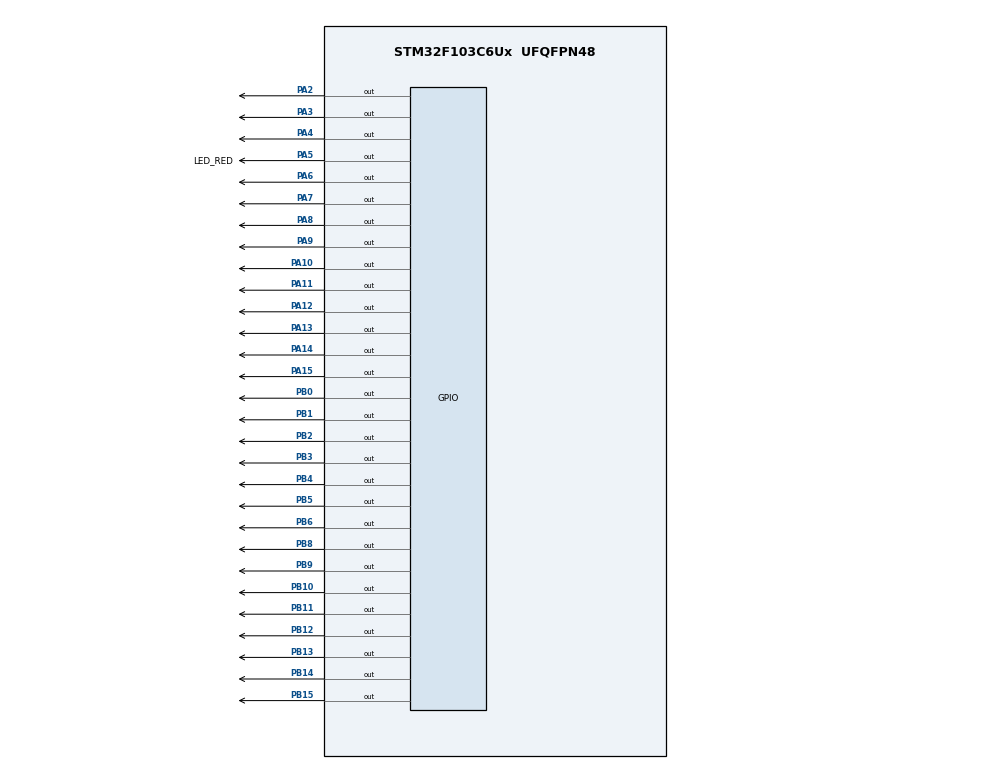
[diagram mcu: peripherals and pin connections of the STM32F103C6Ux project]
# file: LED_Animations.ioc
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Mcu.Family=STM32F1
Mcu.Name=STM32F103C6Ux
Mcu.Package=UFQFPN48
NVIC.PriorityGroup=NVIC_PRIORITYGROUP_4
NVIC.TIM2_IRQn=true\:0\:0\:false\:false\:true\:true\:true
PA10.Signal=GPIO_Output
PA11.Signal=GPIO_Output
PA12.Signal=GPIO_Output
PA13.Signal=GPIO_Output
PA14.Signal=GPIO_Output
PA15.Signal=GPIO_Output
PA2.Signal=GPIO_Output
PA3.Signal=GPIO_Output
PA4.Signal=GPIO_Output
PA5.GPIO_Label=LED_RED
PA5.Signal=GPIO_Output
PA6.Signal=GPIO_Output
PA7.Signal=GPIO_Output
PA8.Signal=GPIO_Output
PA9.Signal=GPIO_Output
PB0.Signal=GPIO_Output
PB1.Signal=GPIO_Output
PB10.Signal=GPIO_Output
PB11.Signal=GPIO_Output
PB12.Signal=GPIO_Output
PB13.Signal=GPIO_Output
PB14.Signal=GPIO_Output
PB15.Signal=GPIO_Output
PB2.Signal=GPIO_Output
PB3.Signal=GPIO_Output
PB4.Signal=GPIO_Output
PB5.Signal=GPIO_Output
PB6.Signal=GPIO_Output
PB8.Signal=GPIO_Output
PB9.Signal=GPIO_Output
ProjectManager.HeapSize=0x200
ProjectManager.StackSize=0x400
ProjectManager.TargetToolchain=STM32CubeIDE
RCC.APB1Freq_Value=8000000
RCC.APB2Freq_Value=8000000
TIM2.Period=9
TIM2.Prescaler=7999
VP_SYS_VS_ND.Mode=No_Debug
VP_TIM2_VS_ClockSourceINT.Mode=Internal
board=custom

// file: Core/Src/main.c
/* USER CODE BEGIN Header */
/**
  ******************************************************************************
  * @file           : main.c
  * @brief          : Main program body
  ******************************************************************************
  * @attention
  *
  * <h2><center>&copy; Copyright (c) 2026 STMicroelectronics.
  * All rights reserved.</center></h2>
  *
  * This software component is licensed by ST under BSD 3-Clause license,
  * the "License"; You may not use this file except in compliance with the
  * License. You may obtain a copy of the License at:
  *                        opensource.org/licenses/BSD-3-Clause
  *
  ******************************************************************************
  */
/* USER CODE END Header */
#include "main.h"

TIM_HandleTypeDef htim2;

/* USER CODE BEGIN PV */
int hour = 15;
int minute = 8;
int second = 50;
int second_counter = 0;
/* USER CODE END PV */

void SystemClock_Config(void);
static void MX_GPIO_Init(void);
static void MX_TIM2_Init(void);

/* USER CODE BEGIN 0 */
const uint8_t segment_code[10] = {
    0x40, // 0: a,b,c,d,e,f on (g off)
    0x79, // 1: b,c on
    0x24, // 2: a,b,d,e,g on
    0x30, // 3: a,b,c,d,g on
    0x19, // 4: b,c,f,g on
    0x12, // 5: a,c,d,f,g on
    0x02, // 6: a,c,d,e,f,g on
    0x78, // 7: a,b,c on
    0x00, // 8: a,b,c,d,e,f,g on
    0x10  // 9: a,b,c,d,f,g on
};

void display7SEG(int num) {
    if (num < 0 || num > 9) return;

    uint8_t code = segment_code[num];

    HAL_GPIO_WritePin(GPIOB, GPIO_PIN_0, (code & (1 << 0)) ? GPIO_PIN_SET : GPIO_PIN_RESET);
    HAL_GPIO_WritePin(GPIOB, GPIO_PIN_1, (code & (1 << 1)) ? GPIO_PIN_SET : GPIO_PIN_RESET);
    HAL_GPIO_WritePin(GPIOB, GPIO_PIN_2, (code & (1 << 2)) ? GPIO_PIN_SET : GPIO_PIN_RESET);
    HAL_GPIO_WritePin(GPIOB, GPIO_PIN_3, (code & (1 << 3)) ? GPIO_PIN_SET : GPIO_PIN_RESET);
    HAL_GPIO_WritePin(GPIOB, GPIO_PIN_4, (code & (1 << 4)) ? GPIO_PIN_SET : GPIO_PIN_RESET);
    HAL_GPIO_WritePin(GPIOB, GPIO_PIN_5, (code & (1 << 5)) ? GPIO_PIN_SET : GPIO_PIN_RESET);
    HAL_GPIO_WritePin(GPIOB, GPIO_PIN_6, (code & (1 << 6)) ? GPIO_PIN_SET : GPIO_PIN_RESET);
}

const int MAX_LED = 4;
int index_led = 0;
int led_buffer[4] = {1, 2, 3, 4};
void update7SEG(int index){
	switch (index){
		case 0:
			//Display the first 7SEG with led_buffer[0]
			display7SEG(led_buffer[0]);
			HAL_GPIO_WritePin(GPIOA,GPIO_PIN_6,GPIO_PIN_RESET);
			index_led = 1;
			break;
		case 1:
			//Display the second 7SEG with led_buffer[1]
			display7SEG(led_buffer[1]);
			HAL_GPIO_WritePin(GPIOA,GPIO_PIN_7,GPIO_PIN_RESET);
			index_led = 2;
			break;
		case 2:
			//Display the third 7SEG with led_buffer[2]
			display7SEG(led_buffer[2]);
			HAL_GPIO_WritePin(GPIOA,GPIO_PIN_8,GPIO_PIN_RESET);
			index_led = 3;
			break;
		case 3:
			//Display the forth 7SEG with led_buffer[3]
			display7SEG(led_buffer[3]);
			HAL_GPIO_WritePin(GPIOA,GPIO_PIN_9,GPIO_PIN_RESET);
			index_led = 0;
			break;
		default:

			break;

	}
}
void updateClockBuffer() {
    led_buffer[0] = hour / 10;
    led_buffer[1] = hour % 10;
    led_buffer[2] = minute / 10;
    led_buffer[3] = minute % 10;
}

const int MAX_LED_MATRIX = 8;
int index_led_matrix = 0;
uint8_t matrix_buffer[8] = {0x00, 0xFC, 0x12, 0x11, 0x11, 0x12, 0xFC, 0x00};

int timer_counter[5] = {0, 0, 0, 0, 0};
int timer_flag[5] = {0, 0, 0, 0, 0};
int TIMER_CYCLE = 10;
void setTimer(int index, int duration){
    timer_counter[index] = duration / TIMER_CYCLE;
    timer_flag[index] = 0;
}
void timer_run(){
    for(int i = 0; i < 5; i++){
        if(timer_counter[i] > 0){
            timer_counter[i]--;
            if(timer_counter[i] == 0) timer_flag[i] = 1;
        }
    }
}

void updateLEDMatrix(int index){

    HAL_GPIO_WritePin(GPIOA, GPIO_PIN_2|GPIO_PIN_3|GPIO_PIN_10|GPIO_PIN_11|
                             GPIO_PIN_12|GPIO_PIN_13|GPIO_PIN_14|GPIO_PIN_15, GPIO_PIN_RESET);

    uint8_t data = matrix_buffer[index];
    HAL_GPIO_WritePin(GPIOB, GPIO_PIN_8, (data >> 0) & 0x01);
    HAL_GPIO_WritePin(GPIOB, GPIO_PIN_9, (data >> 1) & 0x01);
    HAL_GPIO_WritePin(GPIOB, GPIO_PIN_10, (data >> 2) & 0x01);
    HAL_GPIO_WritePin(GPIOB, GPIO_PIN_11, (data >> 3) & 0x01);
    HAL_GPIO_WritePin(GPIOB, GPIO_PIN_12, (data >> 4) & 0x01);
    HAL_GPIO_WritePin(GPIOB, GPIO_PIN_13, (data >> 5) & 0x01);
    HAL_GPIO_WritePin(GPIOB, GPIO_PIN_14, (data >> 6) & 0x01);
    HAL_GPIO_WritePin(GPIOB, GPIO_PIN_15, (data >> 7) & 0x01);

    switch (index){
        case 0: HAL_GPIO_WritePin(GPIOA, GPIO_PIN_2, GPIO_PIN_SET); break;
        case 1: HAL_GPIO_WritePin(GPIOA, GPIO_PIN_3, GPIO_PIN_SET); break;
        case 2: HAL_GPIO_WritePin(GPIOA, GPIO_PIN_10, GPIO_PIN_SET); break;
        case 3: HAL_GPIO_WritePin(GPIOA, GPIO_PIN_11, GPIO_PIN_SET); break;
        case 4: HAL_GPIO_WritePin(GPIOA, GPIO_PIN_12, GPIO_PIN_SET); break;
        case 5: HAL_GPIO_WritePin(GPIOA, GPIO_PIN_13, GPIO_PIN_SET); break;
        case 6: HAL_GPIO_WritePin(GPIOA, GPIO_PIN_14, GPIO_PIN_SET); break;
        case 7: HAL_GPIO_WritePin(GPIOA, GPIO_PIN_15, GPIO_PIN_SET); break;
        default: break;
    }
}
/* USER CODE END 0 */

int main(void)
{

  /* MCU Configuration--------------------------------------------------------*/

  /* Reset of all peripherals, Initializes the Flash interface and the Systick. */
  HAL_Init();

  /* Configure the system clock */
  SystemClock_Config();

  /* Initialize all configured peripherals */
  MX_GPIO_Init();
  MX_TIM2_Init();
  /* USER CODE BEGIN 2 */

  /* USER CODE BEGIN 2 */
    updateClockBuffer();
    setTimer(0, 250);  //  LED (250ms)
    setTimer(1, 500);  // DOT (500ms)
    setTimer(2, 1000); //  Clock & LED_RED (1000ms)
    setTimer(3, 20);
    setTimer(4, 250);
    HAL_TIM_Base_Start_IT(&htim2);
  /* USER CODE END 2 */

  /* Infinite loop */
    while (1)
    {

    /* USER CODE BEGIN 3 */

        if(timer_flag[0] == 1){
            HAL_GPIO_WritePin(GPIOA,GPIO_PIN_6|GPIO_PIN_7|GPIO_PIN_8|GPIO_PIN_9, GPIO_PIN_SET);
            update7SEG(index_led);
            setTimer(0, 250);
        }
        if(timer_flag[1] == 1){
            HAL_GPIO_TogglePin(GPIOA, GPIO_PIN_4);
            setTimer(1, 500);
        }
        if(timer_flag[2] == 1){
            HAL_GPIO_TogglePin(GPIOA, GPIO_PIN_5);

            second++;
            if(second >= 60) {
                second = 0;
                minute++;
            }
            if(minute >= 60) {
                minute = 0;
                hour++;
            }
            if(hour >= 24) {
                hour = 0;
            }
            updateClockBuffer();
            setTimer(2, 1000);
        }
        if(timer_flag[3] == 1){
        	updateLEDMatrix(index_led_matrix);
        	index_led_matrix++;
        	if(index_led_matrix >= MAX_LED_MATRIX){
        		index_led_matrix = 0;
        	}
        	setTimer(3, 10);
        }
        if(timer_flag[4] == 1){
            uint8_t temp = matrix_buffer[0];
            for(int i = 0; i < 7; i++){
            matrix_buffer[i] = matrix_buffer[i+1];
           }
            matrix_buffer[7] = temp;
            setTimer(4, 250);
          }
    }
  /* USER CODE END 3 */
}

void SystemClock_Config(void)
{
  RCC_OscInitTypeDef RCC_OscInitStruct = {0};
  RCC_ClkInitTypeDef RCC_ClkInitStruct = {0};

  /** Initializes the RCC Oscillators according to the specified parameters
  * in the RCC_OscInitTypeDef structure.
  */
  RCC_OscInitStruct.OscillatorType = RCC_OSCILLATORTYPE_HSI;
  RCC_OscInitStruct.HSIState = RCC_HSI_ON;
  RCC_OscInitStruct.HSICalibrationValue = RCC_HSICALIBRATION_DEFAULT;
  RCC_OscInitStruct.PLL.PLLState = RCC_PLL_NONE;
  if (HAL_RCC_OscConfig(&RCC_OscInitStruct) != HAL_OK)
  {
    Error_Handler();
  }
  /** Initializes the CPU, AHB and APB buses clocks
  */
  RCC_ClkInitStruct.ClockType = RCC_CLOCKTYPE_HCLK|RCC_CLOCKTYPE_SYSCLK
                              |RCC_CLOCKTYPE_PCLK1|RCC_CLOCKTYPE_PCLK2;
  RCC_ClkInitStruct.SYSCLKSource = RCC_SYSCLKSOURCE_HSI;
  RCC_ClkInitStruct.AHBCLKDivider = RCC_SYSCLK_DIV1;
  RCC_ClkInitStruct.APB1CLKDivider = RCC_HCLK_DIV1;
  RCC_ClkInitStruct.APB2CLKDivider = RCC_HCLK_DIV1;

  if (HAL_RCC_ClockConfig(&RCC_ClkInitStruct, FLASH_LATENCY_0) != HAL_OK)
  {
    Error_Handler();
  }
}

static void MX_TIM2_Init(void)
{

  TIM_ClockConfigTypeDef sClockSourceConfig = {0};
  TIM_MasterConfigTypeDef sMasterConfig = {0};

  htim2.Instance = TIM2;
  htim2.Init.Prescaler = 7999;
  htim2.Init.CounterMode = TIM_COUNTERMODE_UP;
  htim2.Init.Period = 9;
  htim2.Init.ClockDivision = TIM_CLOCKDIVISION_DIV1;
  htim2.Init.AutoReloadPreload = TIM_AUTORELOAD_PRELOAD_DISABLE;
  if (HAL_TIM_Base_Init(&htim2) != HAL_OK)
  {
    Error_Handler();
  }
  sClockSourceConfig.ClockSource = TIM_CLOCKSOURCE_INTERNAL;
  if (HAL_TIM_ConfigClockSource(&htim2, &sClockSourceConfig) != HAL_OK)
  {
    Error_Handler();
  }
  sMasterConfig.MasterOutputTrigger = TIM_TRGO_RESET;
  sMasterConfig.MasterSlaveMode = TIM_MASTERSLAVEMODE_DISABLE;
  if (HAL_TIMEx_MasterConfigSynchronization(&htim2, &sMasterConfig) != HAL_OK)
  {
    Error_Handler();
  }

}

static void MX_GPIO_Init(void)
{
  GPIO_InitTypeDef GPIO_InitStruct = {0};

  /* GPIO Ports Clock Enable */
  __HAL_RCC_GPIOA_CLK_ENABLE();
  __HAL_RCC_GPIOB_CLK_ENABLE();

  /*Configure GPIO pin Output Level */
  HAL_GPIO_WritePin(GPIOA, GPIO_PIN_2|GPIO_PIN_3|GPIO_PIN_4|GPIO_PIN_5
                          |GPIO_PIN_6|GPIO_PIN_7|GPIO_PIN_8|GPIO_PIN_9
                          |GPIO_PIN_10|GPIO_PIN_11|GPIO_PIN_12|GPIO_PIN_13
                          |GPIO_PIN_14|GPIO_PIN_15, GPIO_PIN_RESET);

  /*Configure GPIO pin Output Level */
  HAL_GPIO_WritePin(GPIOB, GPIO_PIN_0|GPIO_PIN_1|GPIO_PIN_2|GPIO_PIN_10
                          |GPIO_PIN_11|GPIO_PIN_12|GPIO_PIN_13|GPIO_PIN_14
                          |GPIO_PIN_15|GPIO_PIN_3|GPIO_PIN_4|GPIO_PIN_5
                          |GPIO_PIN_6|GPIO_PIN_8|GPIO_PIN_9, GPIO_PIN_RESET);

  /*Configure GPIO pins : PA2 PA3 PA4 PA5
                           PA6 PA7 PA8 PA9
                           PA10 PA11 PA12 PA13
                           PA14 PA15 */
  GPIO_InitStruct.Pin = GPIO_PIN_2|GPIO_PIN_3|GPIO_PIN_4|GPIO_PIN_5
                          |GPIO_PIN_6|GPIO_PIN_7|GPIO_PIN_8|GPIO_PIN_9
                          |GPIO_PIN_10|GPIO_PIN_11|GPIO_PIN_12|GPIO_PIN_13
                          |GPIO_PIN_14|GPIO_PIN_15;
  GPIO_InitStruct.Mode = GPIO_MODE_OUTPUT_PP;
  GPIO_InitStruct.Pull = GPIO_NOPULL;
  GPIO_InitStruct.Speed = GPIO_SPEED_FREQ_LOW;
  HAL_GPIO_Init(GPIOA, &GPIO_InitStruct);

  /*Configure GPIO pins : PB0 PB1 PB2 PB10
                           PB11 PB12 PB13 PB14
                           PB15 PB3 PB4 PB5
                           PB6 PB8 PB9 */
  GPIO_InitStruct.Pin = GPIO_PIN_0|GPIO_PIN_1|GPIO_PIN_2|GPIO_PIN_10
                          |GPIO_PIN_11|GPIO_PIN_12|GPIO_PIN_13|GPIO_PIN_14
                          |GPIO_PIN_15|GPIO_PIN_3|GPIO_PIN_4|GPIO_PIN_5
                          |GPIO_PIN_6|GPIO_PIN_8|GPIO_PIN_9;
  GPIO_InitStruct.Mode = GPIO_MODE_OUTPUT_PP;
  GPIO_InitStruct.Pull = GPIO_NOPULL;
  GPIO_InitStruct.Speed = GPIO_SPEED_FREQ_LOW;
  HAL_GPIO_Init(GPIOB, &GPIO_InitStruct);

}

/* USER CODE BEGIN 4 */
void HAL_TIM_PeriodElapsedCallback(TIM_HandleTypeDef *htim){
	if(htim->Instance == TIM2){
		timer_run();
	}

}
/* USER CODE END 4 */

void Error_Handler(void)
{
  __disable_irq();
  while (1)
  {
  }
}

/************************ (C) COPYRIGHT STMicroelectronics *****END OF FILE****/
